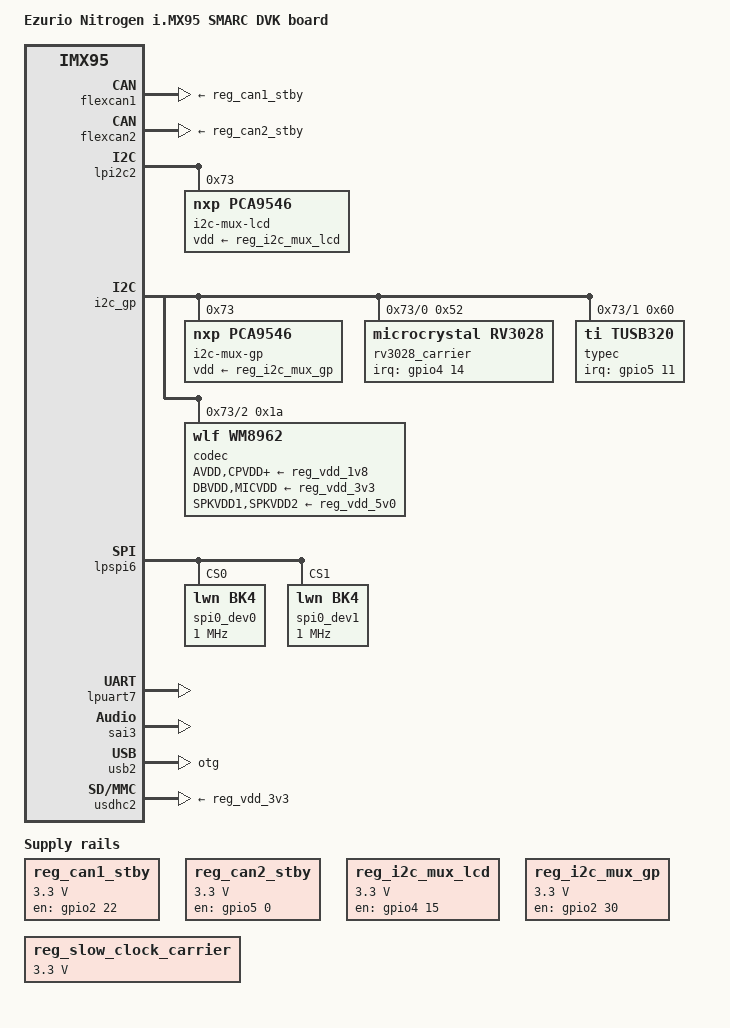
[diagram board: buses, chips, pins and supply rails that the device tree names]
// SPDX-License-Identifier: (GPL-2.0-or-later OR MIT)
/*
 * Copyright 2024 Ezurio LLC
 */

/dts-v1/;

#include "nitrogen-imx95-smarc.dtsi"

/ {
	model = "Ezurio Nitrogen i.MX95 SMARC DVK board";
	compatible = "summit,nitrogen-imx95-smarc-dvk", "fsl,imx95";

	aliases {
		rtc2 = &rv3028_carrier;
		gpio6 = &codec;
	};

	gpio-sim {
		compatible = "gpio-simulator";

		gpio_sim0: bank0 {
			gpio-controller;
			#gpio-cells = <2>;
			ngpios = <8>;
			gpio-sim,label = "sim-bank0";
			gpio-line-names = "gt911-reset";
		};
	};

	reg_can1_stby: regulator-can1-stby {
		compatible = "regulator-fixed";

		regulator-name = "can1_stby";
		regulator-min-microvolt = <3300000>;
		regulator-max-microvolt = <3300000>;

		pinctrl-names = "default";
		pinctrl-0 = <&pinctrl_can1_stby>;
		gpio = <&gpio2 22 GPIO_ACTIVE_HIGH>;
		enable-active-high;
	};

	reg_can2_stby: regulator-can2-stby {
		compatible = "regulator-fixed";

		regulator-name = "reg_can2_stby";
		regulator-min-microvolt = <3300000>;
		regulator-max-microvolt = <3300000>;

		pinctrl-names = "default";
		pinctrl-0 = <&pinctrl_can2_stby>;
		gpio = <&gpio5 0 GPIO_ACTIVE_HIGH>;
		enable-active-high;
	};

	reg_i2c_mux_lcd: regulator-i2c-mux-lcd {
		compatible = "regulator-fixed";

		regulator-name = "reg_i2c_mux_lcd";
		regulator-min-microvolt = <3300000>;
		regulator-max-microvolt = <3300000>;

		pinctrl-names = "default";
		pinctrl-0 = <&pinctrl_i2c_mux_lcd>;
		gpio = <&gpio4 15 GPIO_ACTIVE_HIGH>;
		enable-active-high;
	};

	reg_i2c_mux_gp: regulator-i2c-mux-gp {
		compatible = "regulator-fixed";

		regulator-name = "reg_i2c_mux_gp";
		regulator-min-microvolt = <3300000>;
		regulator-max-microvolt = <3300000>;

		pinctrl-names = "default";
		pinctrl-0 = <&pinctrl_i2c_mux_gp>;
		gpio = <&gpio2 30 GPIO_ACTIVE_HIGH>; /* SMARC GPIO6 */
		enable-active-high;
	};

	reg_slow_clock_carrier: regulator-slow-clock-carrier {
		compatible = "regulator-fixed-clock";

		regulator-name = "reg_slow_clock_carrier";
		regulator-min-microvolt = <3300000>;
		regulator-max-microvolt = <3300000>;

		clocks = <&rv3028_carrier>;

		startup-delay-us = <1000>;
	};

	sound-wm8962 {
		compatible = "fsl,imx-audio-wm8962";
		model = "wm8962-audio";
		audio-cpu = <&sai3>;
		audio-codec = <&codec>;
		audio-routing =
			"Headphone Jack", "HPOUTL",
			"Headphone Jack", "HPOUTR",
			"Ext Spk", "SPKOUTL",
			"Ext Spk", "SPKOUTR",
			"AMIC", "MICBIAS",
			"IN3R", "AMIC",
			"IN1R", "AMIC";
		codec-master;
	};
};

&reg_usb_otg_vbus {
	// power switch on the carrier must be controlled by open-drain GPIO
	gpio = <&pcal6524 21 (GPIO_ACTIVE_HIGH | GPIO_OPEN_DRAIN | GPIO_PULL_UP)>;
};

&flexcan1 {
	status = "okay";
	xceiver-supply = <&reg_can1_stby>;
};

&flexcan2 {
	status = "okay";
	xceiver-supply = <&reg_can2_stby>;
};

/* LCD I2C */
&lpi2c2 {
	status = "okay";

	i2c-mux-lcd@73 {
		compatible = "nxp,pca9546";
		reg = <0x73>;

		vdd-supply = <&reg_i2c_mux_lcd>;

		#address-cells = <1>;
		#size-cells = <0>;

		i2c_lcd_exp1: i2c-mux-lcd@0 {
			/* EXP1 I2C */
			reg = <0>;
			#address-cells = <1>;
			#size-cells = <0>;
		};

		i2c_lcd_exp2: i2c-mux-lcd@1 {
			/* EXP2 I2C */
			reg = <1>;
			#address-cells = <1>;
			#size-cells = <0>;
		};

		i2c_lcd_dsi0: i2c-mux-lcd@2 {
			/* DSI0 I2C */
			reg = <2>;
			#address-cells = <1>;
			#size-cells = <0>;
		};

		i2c_lcd_dsi1: i2c-mux-lcd@3 {
			/* DSI1 I2C */
			reg = <3>;
			#address-cells = <1>;
			#size-cells = <0>;
		};
	};
};

&i2c_gp {
	i2c-mux-gp@73 {
		compatible = "nxp,pca9546";
		reg = <0x73>;

		vdd-supply = <&reg_i2c_mux_gp>;

		#address-cells = <1>;
		#size-cells = <0>;

		i2c_gp_rtc: i2c-mux-gp@0 {
			/* RTC */
			reg = <0>;
			#address-cells = <1>;
			#size-cells = <0>;

			rv3028_carrier: rv3028-carrier@52 {
				compatible = "microcrystal,rv3028";
				reg = <0x52>;

				#clock-cells = <0>;

				pinctrl-names = "default";
				pinctrl-0 = <&pinctrl_rv3028_carrier>;
				interrupts-extended = <&gpio4 14 IRQ_TYPE_LEVEL_LOW>;
				interrupt-names = "irq";
				wakeup-source;
			};
		};

		i2c_gp_usbc: i2c-mux-gp@1 {
			/* USB C */
			reg = <1>;
			#address-cells = <1>;
			#size-cells = <0>;

			typec: typec@60 {
				compatible = "ti,tusb320";
				reg = <0x60>;
				pinctrl-names = "default";
				pinctrl-0 = <&pinctrl_tusb320>;
				interrupts-extended = <&gpio5 11 IRQ_TYPE_LEVEL_LOW>;
				interrupt-names = "irq";
			};
		};

		i2c_gp_aud: i2c-mux-gp@2 {
			/* audio */
			reg = <2>;
			#address-cells = <1>;
			#size-cells = <0>;

			codec: wm8962@1a {
				compatible = "wlf,wm8962";
				reg = <0x1a>;
				clocks = <&scmi_clk IMX95_CLK_SAI3>;
				AVDD-supply = <&reg_vdd_1v8>;
				CPVDD-supply = <&reg_vdd_1v8>;
				DBVDD-supply = <&reg_vdd_3v3>;
				DCVDD-supply = <&reg_vdd_1v8>;
				MICVDD-supply = <&reg_vdd_3v3>;
				PLLVDD-supply = <&reg_vdd_1v8>;
				SPKVDD1-supply = <&reg_vdd_5v0>;
				SPKVDD2-supply = <&reg_vdd_5v0>;
				gpio-cfg = <
					0x0000 /* n/c */
					0x0000 /* gpio2: */
					0x0000 /* gpio3: */
					0x0000 /* n/c */
					0x8081 /* gpio5:HP detect */
					0x8095 /* gpio6:Mic detect */
				>;
				gpio-line-names = "N/C", "GPIO2",
					"GPIO3", "N/C",
					"GPIO5:HP detect",
					"GPIO6:Mic detect";
			};
		};

		i2c_gp_pcie: i2c-mux-gp@3 {
			/* pcie */
			reg = <3>;
			#address-cells = <1>;
			#size-cells = <0>;
		};
	};
};

&lpspi6 {
	status = "okay";

	spi0_dev0: spi@0 {
		reg = <0>;
		compatible = "lwn,bk4";
		spi-max-frequency = <1000000>;
	};

	spi0_dev1: spi@1 {
		reg = <1>;
		compatible = "lwn,bk4";
		spi-max-frequency = <1000000>;
	};
};

&lpuart7 { /* SER0 */
	status = "okay";
};

/* I2S0 */
&sai3 {
	#sound-dai-cells = <0>;
	pinctrl-names = "default";
	pinctrl-0 = <&pinctrl_sai3>;
	assigned-clocks = <&scmi_clk IMX95_CLK_SAI3>;
	assigned-clock-parents = <&scmi_clk IMX95_CLK_AUDIOPLL1>;
	assigned-clock-rates = <24000000>;
	fsl,sai-mclk-direction-output;
	status = "okay";
};

/* USB-C */
&usb2 {
	dr_mode = "otg";
	hnp-disable;
	srp-disable;
	adp-disable;
	usb-role-switch;
	disable-over-current;
	status = "okay";

	// 1st VBUS detect, 2nd CC detect
	extcon = <&typec>, <&typec>;
};

&usdhc2 { /* SDIO - SDCARD */
	status = "okay";

	vmmc-supply = <&reg_vdd_3v3>;

	// SD card power on the carrier board is not connected to control signal, 
	// as such SD card cannot be reset, thus disabling 1.8V
	no-1-8-v;
};

&scmi_iomuxc {
	pinctrl_can1_stby: pinctrl-can1-stby {
		fsl,pins = <
			IMX95_PAD_GPIO_IO22__GPIO2_IO_BIT22   0x31e
		>;
	};

	pinctrl_can2_stby: pinctrl-can2-stby {
		fsl,pins = <
			IMX95_PAD_XSPI1_DATA0__GPIO5_IO_BIT0   0x31e
		>;
	};

	pinctrl_i2c_mux_lcd: pinctrl-i2c-mux-lcd {
		fsl,pins = <
			IMX95_PAD_ENET2_MDIO__GPIO4_IO_BIT15  0x31e
		>;
	};

	pinctrl_i2c_mux_gp: pinctrl-i2c-mux-gp {
		fsl,pins = <
			IMX95_PAD_GPIO_IO30__GPIO2_IO_BIT30   0x31e
		>;
	};

	pinctrl_rv3028_carrier: pinctrl-rv3028-carrier {
		fsl,pins = <
			IMX95_PAD_ENET2_MDC__GPIO4_IO_BIT14   0x131e
		>;
	};

	pinctrl_tusb320: pinctrl-tusb320 {
		fsl,pins = <
			IMX95_PAD_XSPI1_SS1_B__GPIO5_IO_BIT11   0x131e
		>;
	};
};
